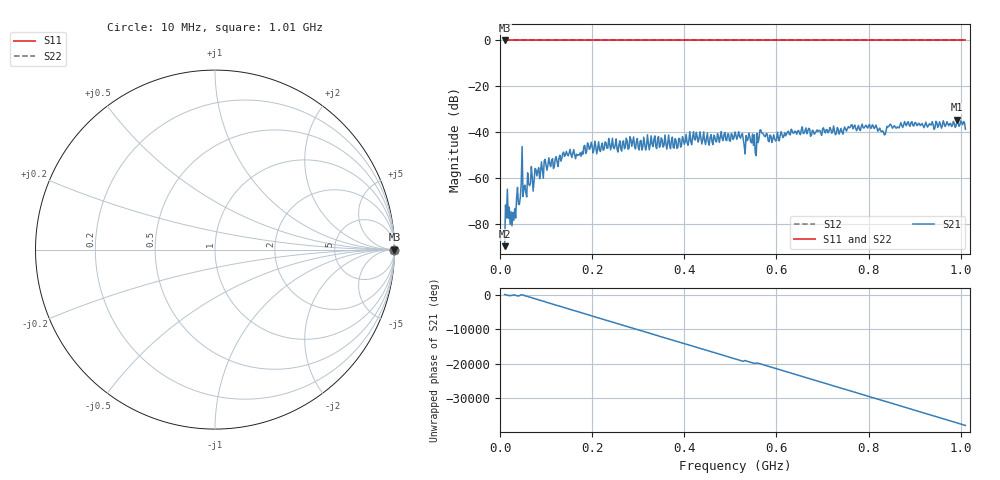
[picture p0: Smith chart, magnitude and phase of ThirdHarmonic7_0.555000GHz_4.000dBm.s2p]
! 8/17/2025 4:54:56 PM
! C:\ANRITSUVNA\TEMP\TEMP.S2P
! CHANNEL.1
! TR.MEASUREMENT
! RAW.DATA
! RF.CORRECTION.OFF
! AVERAGING.OFF
! IF.BANDWIDTH: 5KHZ
! SWEEPTYPE:  FREQ.SWEEP(Linear)
! Reference Plane Port Info
! PORT:  PORT1  PORT2
! DISTANCE:  0  m  0  m
! TIME:  0  s  0  s
! PHASE.OFFSET:  0  deg.  0  deg.
! LOSS:  0  dB  0  dB
! REF.LOSS:  0  dB  0  dB
! REF.FREQ:  0  Hz  0  Hz
! Power Info
! POWER:  -20  dBm  -20  dBm
! EFF.POWER:  -20  dBm  -20  dBm
! SOURCE.ATTEN:  0  dB  0  dB
! TEST.ATTEN:  0  dB  0  dB
# GHZ S RI R 50.0
! FREQ.GHZ  S11RE  S11IM  S21RE  S21IM  S12RE  S12IM  S22RE  S22IM
!; PortSelection: Port_12
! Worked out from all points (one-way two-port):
!   501 points, 10 MHz to 1.01 GHz, reference 50 ohm
!   highest |S21| = -34.57 dB at 992 MHz (marker M1); lowest = -89.9 dB at 10 MHz (marker M2)
!   lowest |S11| = 0.0 dB at 10 MHz (marker M3)
!   |S11| at or under -10 dB: nowhere
!   |S22| runs from 0.0 to 0.0 dB; largest |S21 - S12| = 1
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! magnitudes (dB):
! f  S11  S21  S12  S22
! 10 MHz  0.0  -89.9  0.0  0.0
! 16 MHz  0.0  -65.0  0.0  0.0
! 22 MHz  0.0  -80.4  0.0  0.0
! 30 MHz  0.0  -78.6  0.0  0.0
! 50 MHz  0.0  -68.2  0.0  0.0
! 54 MHz  0.0  -63.2  0.0  0.0
! 64 MHz  0.0  -63.5  0.0  0.0
! 100 MHz  0.0  -54.6  0.0  0.0
! 178 MHz  0.0  -48.7  0.0  0.0
! 194 MHz  0.0  -47.6  0.0  0.0
! 286 MHz  0.0  -46.3  0.0  0.0
! 344 MHz  0.0  -42.0  0.0  0.0
! 510 MHz  0.0  -40.0  0.0  0.0
! 558 MHz  0.0  -40.6  0.0  0.0
! 568 MHz  0.0  -40.4  0.0  0.0
! 586 MHz  0.0  -41.4  0.0  0.0
! 678 MHz  0.0  -39.2  0.0  0.0
! 766 MHz  0.0  -38.6  0.0  0.0
! 832 MHz  0.0  -39.9  0.0  0.0
! 844 MHz  0.0  -37.6  0.0  0.0
! 992 MHz  0.0  -34.6  0.0  0.0
! 1.01 GHz  0.0  -38.8  0.0  0.0
